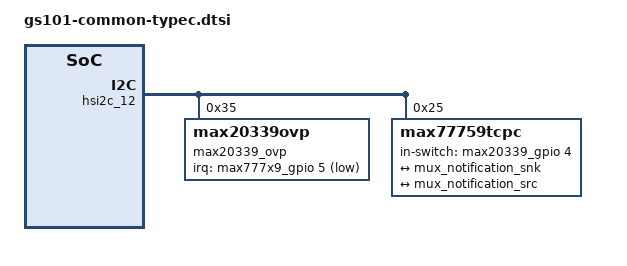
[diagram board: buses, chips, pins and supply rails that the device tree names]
// SPDX-License-Identifier: GPL-2.0-only
/*
 * Copyright (C) 2020, Google LLC
 *
 * P21 Type-c device-tree.
 */
#include <dt-bindings/usb/pd.h>
#include <dt-bindings/gpio/gpio.h>
#include <dt-bindings/pinctrl/samsung.h>

&hsi2c_12{
	#address-cells = <1>;
	#size-cells = <0>;
	status = "okay";

	fusb307b: fusb307b@50 {
		status = "disabled";
		compatible = "fusb307b";
		/* 52 on reworked maran */
		reg = <0x50>;
		pinctrl-names = "default";
		pinctrl-0 = <&usb_pd_irq>;
		interrupt-parent = <&gpa8>;
		usbpd,usbpd_int = <&gpa8 2 GPIO_ACTIVE_LOW>;
		usb-psy-name = "usb";
		chg-psy-name = "gcpm";
		no-bc-12;
		/*
		 * uic = <&max77729_uic>;
		 * uic-io = <0x1>;
		 */
		ls = <&slg_pld>;
		conn = <&usb_con>;
		orientation-switch;

		usb_con: connector {
			compatible = "usb-c-connector";
			label = "USB-C";
			data-role = "dual";
			power-role = "dual";
			try-power-role = "sink";
			self-powered;
			op-sink-microwatt = <2600000>;
			usb-role-switch;
			source-pdos = <PDO_FIXED(5000, 900,
						 PDO_FIXED_SUSPEND |
						 PDO_FIXED_USB_COMM |
						 PDO_FIXED_DATA_SWAP |
						 PDO_FIXED_DUAL_ROLE)>;
			sink-pdos = <PDO_FIXED(5000, 3000,
					       PDO_FIXED_USB_COMM |
					       PDO_FIXED_DATA_SWAP |
					       PDO_FIXED_DUAL_ROLE)
				     PDO_FIXED(9000, 2000, 0)>;
			port {
				#address-cells = <1>;
				#size-cells = <0>;
				mux_notification_source: endpoint@0 {
					reg = <0>;
					remote-endpoint = <&mux_notification_sink>;
				};
			};
		};

		port {
			#address-cells = <1>;
			#size-cells = <0>;

			mux_notification_sink: endpoint@0 {
				reg = <0>;
				remote-endpoint = <&mux_notification_source>;
			};
		};
	};

	slg_pld:slg46826@8 {
		status = "disabled";
		compatible = "slg46826";
		reg = <0x8>;
	};

	max20339_ovp: max20339ovp@35 {
		/*
		 * Enabling in bootloader instead of disabling so that
		 * kernel changes can be merged independently.
		 */
		status = "okay";
		compatible = "max20339ovp";
		reg = <0x35>;

		/* OVP interrupt on MW pmic GPIO6 */
		max20339,irq-gpio = <&max777x9_gpio 5 GPIO_ACTIVE_LOW>;

		/* LoadSwitch 1 and LoadSwitch 2 mapped as gpios.  */
		max20339_gpio: max20339_gpio {
			gpio-controller;
			#gpio-cells = <2>;
			ngpios = <8>;
		};
	};

	max77759tcpc: max77759tcpc@25 {
		status = "okay";
		dev-name = "max77759tcpc";
		compatible = "max77759tcpc";
		/* 52 on reworked maran */
		reg = <0x25>;
		pinctrl-names = "default";
		pinctrl-0 = <&usb_pd_irq>;
		interrupt-parent = <&gpa8>;
		usbpd,usbpd_int = <&gpa8 2 GPIO_ACTIVE_LOW>;
		usb-psy-name = "usb";
		chg-psy-name = "gcpm";
		in-switch-gpio = <&max20339_gpio 4 GPIO_ACTIVE_HIGH>;
		max20339,ovp = <&max20339_ovp>;
		conn = <&conn>;
		orientation-switch;

		conn: connector {
			compatible = "usb-c-connector";
			label = "USB-C";
			data-role = "dual";
			power-role = "dual";
			try-power-role = "sink";
			self-powered;
			op-sink-microwatt = <2600000>;
			new-source-frs-typec-current = <FRS_5V_1P5A>;
			usb-role-switch;
			slow-charger-loop;
			/*
			 * b/174044466: Extboost can only do ~1A.
			 * However, max77759 operating in reverse boost
			 * mode (0xA) can do till 1.5A.
			 * Since extboost is the primary path, set this
			 * to 900mA.
			 */
			source-pdos = <PDO_FIXED(5000, 900,
						 PDO_FIXED_SUSPEND |
						 PDO_FIXED_USB_COMM |
						 PDO_FIXED_DATA_SWAP |
						 PDO_FIXED_DUAL_ROLE)>;
			sink-pdos = <PDO_FIXED(5000, 3000,
					       PDO_FIXED_DATA_SWAP |
					       PDO_FIXED_USB_COMM |
					       PDO_FIXED_HIGHER_CAP |
					       PDO_FIXED_DUAL_ROLE)
				     PDO_FIXED(9000, 2200, 0)
				     PDO_PPS_APDO(5000, 11000, 3000)>;
			sink-vdos = <VDO_IDH(/* usbh */ 1, /* usbd */ 1, IDH_PTYPE_PERIPH,
					     /* is_modal */ 0, IDH_PTYPE_DFP_HOST, /* conn */ 2,
					     0x18D1)
				     VDO_CERT(0x0)
				     VDO_PRODUCT(0x4EE1, 0x0)
				     VDO_UFP(UFP_VDO_VER1_2, DEV_USB2_CAPABLE | DEV_USB3_CAPABLE,
					     UFP_RECEPTACLE, /* rsvd */ 0, AMA_VCONN_NOT_REQ,
					     /* rsvd */ 0, UFP_ALTMODE_NOT_SUPP, UFP_USB32_GEN1)
				     /* padding */ 0
				     VDO_DFP(DFP_VDO_VER1_1, HOST_USB2_CAPABLE | HOST_USB3_CAPABLE,
					     DFP_RECEPTACLE, /* pnum */ 0)>;
			sink-vdos-v1 = <VDO_IDH(/* usbh */ 1, /* usbd */ 1, IDH_PTYPE_PERIPH,
						/* is_modal */ 0, /* rsvd */ 0, /* rsvd */ 0,
						0x18D1)
					VDO_CERT(0x0)
					VDO_PRODUCT(0x4EE1, 0x0)>;

			port {
				#address-cells = <1>;
				#size-cells = <0>;
				mux_notification_src: endpoint@0 {
					reg = <0>;
					remote-endpoint = <&mux_notification_snk>;
				};

			};
		};

		port {
			#address-cells = <1>;
			#size-cells = <0>;

			mux_notification_snk: endpoint@0 {
				reg = <0>;
				remote-endpoint = <&mux_notification_src>;
			};
		};

		/* EXT_BST_EN exposed as GPIO */
		max77759_tcpc_gpio: max77759_tcpc_gpio {
			gpio-controller;
			#gpio-cells = <2>;
			ngpios = <1>;
		};
	};
};

&hsi2c12_bus {
	samsung,pins = "gpp23-4", "gpp23-5";
	samsung,pin-pud = <EXYNOS_PIN_PULL_UP>;
};

&pinctrl_1 {
	usb_pd_irq: usb-pd-irq {
		samsung,pins = "gpa8-2";
		samsung,pin-function = <EXYNOS_PIN_FUNC_EINT>;
		samsung,pin-pud = <EXYNOS_PIN_PULL_UP>;
		samsung,pin-drv = <GS101_PIN_DRV_2_5_MA>;
	};
};

/ {
	fragment@typec {
		target-path = "/";
		__overlay__ {
			google,usbc_port_cooling_dev {
				extcon = <&max77759tcpc>;
				compatible = "google,usbc_port_cooling_dev";
				google,usb-cd-polling-interval-ms = <5000>;
				google,usb-cd-connected-interval-ms = <700>;
				google,usb-cd-unplug-interval-sec = <2>;
				#cooling-cells = <2>;
			};
		};
	};
};
